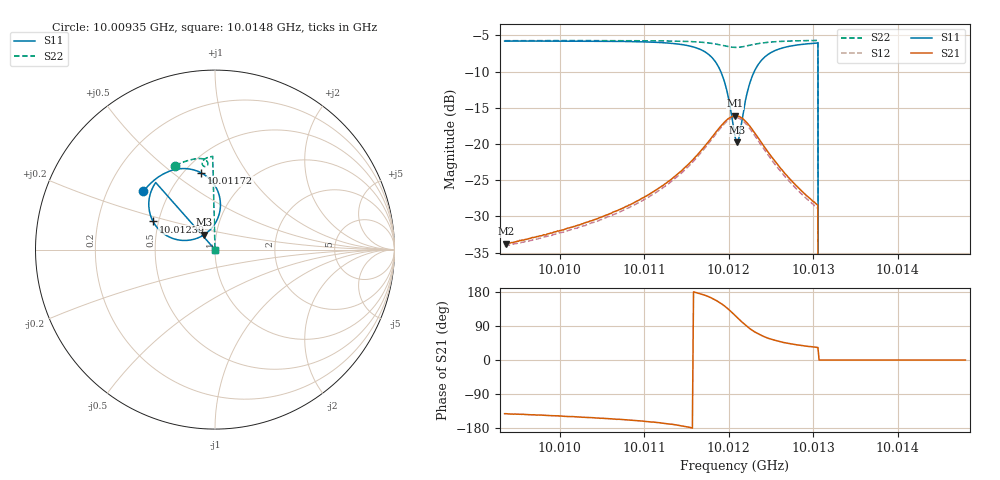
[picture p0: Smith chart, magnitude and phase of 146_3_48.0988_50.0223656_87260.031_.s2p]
#  HZ  S  RI  R  50.00
! Rohde & Schwarz Vector Network Analyzer
! Rohde-Schwarz,ZNB20-2Port,1311601062101988,3.16
! Created: UTC 12/23/2023, 3:49:17 AM
! freq[Hz]  re:S11  im:S11  re:S21  im:S21  re:S12  im:S12  re:S22  im:S22
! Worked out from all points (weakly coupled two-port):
!   401 points, 10.00935 GHz to 10.0148 GHz, reference 50 ohm
!   highest |S21| = -16.10 dB at 10.01208 GHz (marker M1); lowest = -33.8 dB at 10.00936 GHz (marker M2)
!   lowest |S11| = -19.8 dB at 10.0121 GHz (marker M3), VSWR 1.23, Z = 43.8 + j7.34 ohm
!   |S11| at or under -10 dB: 10.01191 GHz to 10.0123 GHz (395.5 kHz wide, 0.00395 % of centre); 10.01306 GHz to end of sweep
!   |S22| runs from - to -5.7 dB; largest |S21 - S12| = 0.0077
!   S11 on the Smith chart (normalised r, x): 10.00935 GHz: 0.36, +0.32; 10.01172 GHz: 0.61, +0.64; 10.01239 GHz: 0.47, +0.17; 10.0148 GHz: 1.00, +0.00
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1.0009347e10  -0.3984 0.3256  -0.0161 -0.0127  -0.0148 -0.0129  -0.2205 0.4683
1.0009361e10  -0.3977 0.3263  -0.016 -0.0127  -0.0149 -0.013  -0.2197 0.4687
1.0010261e10  -0.3435 0.3827  -0.0245 -0.0136  -0.023 -0.0143  -0.1642 0.4918
1.0010738e10  -0.3019 0.4131  -0.033 -0.014  -0.0312 -0.015  -0.1325 0.5013
1.0011175e10  -0.2435 0.4405  -0.0481 -0.0125  -0.0456 -0.0143  -0.1008 0.5069
1.0011462e10  -0.178 0.4515  -0.0668 -0.0063  -0.0638 -0.00954  -0.077 0.5073
1.0011721e10  -0.0753 0.4266  -0.0958 0.0155  -0.0935 0.0102  -0.0529 0.4997
1.0011844e10  -0.00962 0.3702  -0.1111 0.0444  -0.1101 0.037  -0.0426 0.4897
1.0011925e10  0.0248 0.2966  -0.1145 0.0746  -0.1149 0.0675  -0.0395 0.4793
1.0011994e10  0.0268 0.2124  -0.1051 0.1061  -0.1069 0.099  -0.0419 0.4696
1.0012075e10  -0.0278 0.1094  -0.0727 0.1388  -0.0764 0.1321  -0.0517 0.4625
1.0012103e10  -0.0601 0.083  -0.058 0.1453  -0.0622 0.1388  -0.056 0.4622
1.001213e10  -0.0971 0.0641  -0.0428 0.1484  -0.0465 0.1426  -0.06 0.463
1.0012198e10  -0.1916 0.0521  -0.00556 0.1439  -0.0101 0.1388  -0.068 0.4693
1.0012253e10  -0.2561 0.0709  0.0175 0.1313  0.012 0.1267  -0.071 0.4767
1.0012389e10  -0.3452 0.1566  0.0434 0.0926  0.0383 0.0901  -0.0671 0.4939
1.0012608e10  -0.3682 0.2684  0.0455 0.0517  0.0415 0.051  -0.0494 0.5093
1.001299e10  -0.3372 0.3634  0.0334 0.0233  0.0307 0.0236  -0.0179 0.5187
1.001303e10  -0.3331 0.3698  0.0323 0.0216  0.0297 0.0221  -0.0149 0.5192
1.0013099e10  0 0  0 0  0 0  0 0
1.0013904e10  0 0  0 0  0 0  0 0
1.0014804e10  0 0  0 0  0 0  0 0
